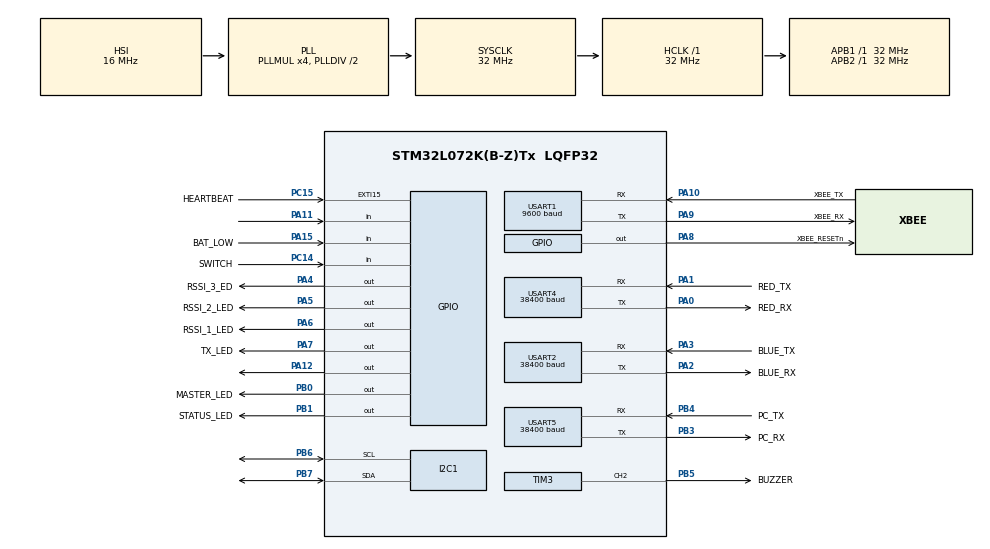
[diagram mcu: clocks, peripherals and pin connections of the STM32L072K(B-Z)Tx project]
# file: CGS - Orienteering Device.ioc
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I2C1.Timing=0x00707CBB
Mcu.Family=STM32L0
Mcu.Name=STM32L072K(B-Z)Tx
Mcu.Package=LQFP32
NVIC.EXTI4_15_IRQn=true\:0\:0\:false\:false\:true\:true\:true
NVIC.USART1_IRQn=true\:3\:0\:true\:false\:true\:true\:true
NVIC.USART2_IRQn=true\:2\:0\:true\:false\:true\:true\:true
NVIC.USART4_5_IRQn=true\:1\:0\:true\:false\:true\:true\:true
PA0.GPIO_Label=RED_RX
PA0.Mode=Asynchronous
PA0.Signal=USART4_TX
PA1.GPIO_Label=RED_TX
PA1.Mode=Asynchronous
PA1.Signal=USART4_RX
PA10.GPIO_Label=XBEE_TX
PA10.Mode=Asynchronous
PA10.Signal=USART1_RX
PA11.Signal=GPIO_Input
PA12.Signal=GPIO_Output
PA13.Mode=Serial_Wire
PA13.Signal=SYS_SWDIO
PA14.Mode=Serial_Wire
PA14.Signal=SYS_SWCLK
PA15.GPIO_Label=BAT_LOW
PA15.Signal=GPIO_Input
PA2.GPIO_Label=BLUE_RX
PA2.Mode=Asynchronous
PA2.Signal=USART2_TX
PA3.GPIO_Label=BLUE_TX
PA3.Mode=Asynchronous
PA3.Signal=USART2_RX
PA4.GPIO_Label=RSSI_3_ED
PA4.Signal=GPIO_Output
PA5.GPIO_Label=RSSI_2_LED
PA5.Signal=GPIO_Output
PA6.GPIO_Label=RSSI_1_LED
PA6.Signal=GPIO_Output
PA7.GPIO_Label=TX_LED
PA7.Signal=GPIO_Output
PA8.GPIO_Label=XBEE_RESETn
PA8.Signal=GPIO_Output
PA9.GPIO_Label=XBEE_RX
PA9.Mode=Asynchronous
PA9.Signal=USART1_TX
PB0.GPIO_Label=MASTER_LED
PB0.Signal=GPIO_Output
PB1.GPIO_Label=STATUS_LED
PB1.Signal=GPIO_Output
PB3.GPIO_Label=PC_RX
PB3.Mode=Asynchronous
PB3.Signal=USART5_TX
PB4.GPIO_Label=PC_TX
PB4.Mode=Asynchronous
PB4.Signal=USART5_RX
PB5.GPIO_Label=BUZZER
PB5.Signal=S_TIM3_CH2
PB6.Mode=I2C
PB6.Signal=I2C1_SCL
PB7.Mode=I2C
PB7.Signal=I2C1_SDA
PC14-OSC32_IN.GPIO_Label=SWITCH
PC14-OSC32_IN.Signal=GPIO_Input
PC15-OSC32_OUT.GPIO_Label=HEARTBEAT
PC15-OSC32_OUT.GPIO_ModeDefaultEXTI=GPIO_MODE_IT_FALLING
PC15-OSC32_OUT.Signal=GPXTI15
ProjectManager.HeapSize=0x200
ProjectManager.StackSize=0x400
ProjectManager.TargetToolchain=STM32CubeIDE
RCC.AHBFreq_Value=32000000
RCC.APB1Freq_Value=32000000
RCC.APB1TimFreq_Value=32000000
RCC.APB2Freq_Value=32000000
RCC.APB2TimFreq_Value=32000000
RCC.HCLKFreq_Value=32000000
RCC.HSI16_VALUE=16000000
RCC.HSI48_VALUE=48000000
RCC.HSI_VALUE=16000000
RCC.LSE_VALUE=32768
RCC.MSI_VALUE=2097000
RCC.PLLMUL=RCC_PLLMUL_4
RCC.SYSCLKFreq_VALUE=32000000
RCC.SYSCLKSource=RCC_SYSCLKSOURCE_PLLCLK
RCC.VCOOutputFreq_Value=64000000
SH.S_TIM3_CH2.0=TIM3_CH2,PWM Generation2 CH2
TIM3.Channel-PWM\ Generation2\ CH2=TIM_CHANNEL_2
TIM3.Period=500-1
TIM3.Prescaler=32-1
TIM3.Pulse-PWM\ Generation2\ CH2=250
USART1.BaudRate=9600
USART1.VirtualMode-Asynchronous=VM_ASYNC
USART2.BaudRate=38400
USART2.VirtualMode-Asynchronous=VM_ASYNC
USART4.BaudRate=38400
USART4.VirtualMode-Asynchronous=VM_ASYNC
USART5.BaudRate=38400
USART5.VirtualMode-Asynchronous=VM_ASYNC
board=custom

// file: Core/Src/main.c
/* USER CODE BEGIN Header */
/**
  ******************************************************************************
  * @file           : main.c
  * @brief          : Main program body
  ******************************************************************************
  * @attention
  *
  * <h2><center>&copy; Copyright (c) 2020 STMicroelectronics.
  * All rights reserved.</center></h2>
  *
  * This software component is licensed by ST under BSD 3-Clause license,
  * the "License"; You may not use this file except in compliance with the
  * License. You may obtain a copy of the License at:
  *                        opensource.org/licenses/BSD-3-Clause
  *
  ******************************************************************************
  */
/* USER CODE END Header */

#include "main.h"
#include "i2c.h"
#include "tim.h"
#include "usart.h"
#include "gpio.h"

/* USER CODE BEGIN Includes */
#include "stdlib.h"
#include "stdio.h"
#include "stdbool.h"
#include "string.h"
/* USER CODE END Includes */

/* USER CODE BEGIN PD */

/* Orienteering Device definitions */
#define SLAVE		0
#define MASTER		1
#define OD_ID		0x43

/* SRR definitions */
#define ETX			0x03
#define NAK			0x15

/* XBee definitions */
#define SOF						0x7E
#define CMD_TX_REQUEST			0x10
#define XBEE_MAX_PACKET_SIZE	60

/* USER CODE END PD */

/* USER CODE BEGIN PV */

/* Tracker variable for which mode we are in */
bool mode;

/* Incoming channel buffers */
volatile uint8_t radioRedBuffer  	[100];
volatile uint8_t radioBlueBuffer 	[100];
volatile uint8_t radioAuxBuffer		[100];

volatile uint8_t PCBuffer  			[100];
volatile uint8_t xbeeBuffer 		[100];

uint8_t xbeeTXBuffer	[XBEE_MAX_PACKET_SIZE];

/* Incoming single byte (we only handle 1 byte at a time) */
uint8_t radioRedIn = 0;
uint8_t radioBlueIn = 0;
uint8_t radioAuxIn = 0;

uint8_t PCIn = 0;
uint8_t xbeeIn = 0;

/* Tracker to keep track of where in the buffer we are */
uint8_t radioRedTracker = 0;
uint8_t radioBlueTracker = 0;
uint8_t radioAuxTracker = 0;

uint8_t PCTracker = 0;
uint8_t xbeeTracker = 0;

/* Boolean flag for when a packet is complete and ready to be interpretted */
bool radioRedPacketComplete = false;
bool radioBluePacketComplete = false;
bool radioAuxPacketComplete = false;

bool PCPacketComplete = false;
bool xbeePacketComplete = false;

/* Timeout counters */
uint32_t xbeeTimeout = 0;

/* Variable for which stage of the packet we are at */
volatile uint8_t xbeeStep = 1;
volatile uint16_t xbeeSize = 0;

/* Outgoing buffer (doesn't matter which channel) */
uint8_t transmitBuffer	[100];

/* Tracker variable for last time LED blinked */
uint32_t timeSinceLastBlink = 0;

/* USER CODE END PV */

void SystemClock_Config(void);
/* USER CODE BEGIN PFP */
static void Boot_Sequence(bool mode);
void XBee_Transmit(uint8_t* txBuffer, uint8_t txBufferSize);
static uint8_t XBee_Checksum(uint8_t *buffer, uint16_t length);
/* USER CODE END PFP */

int main(void)
{

  /* MCU Configuration--------------------------------------------------------*/

  /* Reset of all peripherals, Initializes the Flash interface and the Systick. */
  HAL_Init();

  /* Configure the system clock */
  SystemClock_Config();

  /* Initialize all configured peripherals */
  MX_GPIO_Init();
  MX_I2C1_Init();
  MX_TIM3_Init();
  MX_USART1_UART_Init();
  MX_USART2_UART_Init();
  MX_USART4_UART_Init();
  MX_USART5_UART_Init();
  /* USER CODE BEGIN 2 */

  /* Read the switch to see if we are a master or slave */
  mode = (bool)(HAL_GPIO_ReadPin(GPIOC, SWITCH_Pin));

  /* If we are in slave mode, enable 3 radio inputs, and the XBee channel */
  if (mode == SLAVE)
  {
	  HAL_UART_Receive_IT(&huart4, &radioRedIn, 1);
	  HAL_UART_Receive_IT(&huart2, &radioBlueIn, 1);
	  HAL_UART_Receive_IT(&huart5, &radioAuxIn, 1);
	  HAL_UART_Receive_IT(&huart1, xbeeBuffer, 1);
  }
  /* If we are in master mode, enable PC communications and the XBee channel */
  else if (mode == MASTER)
  {
	  HAL_UART_Receive_IT(&huart5, &PCIn, 1);
	  HAL_UART_Receive_IT(&huart1, xbeeBuffer, 1);
  }

  /* Wake up the XBee */
  HAL_GPIO_WritePin(GPIOA, XBEE_RESETn_Pin, GPIO_PIN_SET);

  /* Boot up the system */
  Boot_Sequence(mode);

  /* USER CODE END 2 */

  /* Infinite loop */
  /* USER CODE BEGIN WHILE */
  while (true)
  {

		/* Handle the slave mode */
		/* Here, 4 things could happen:	 */
		/* - A packet from the red radio comes in. We send this out via the XBee */
		/* - A packet from the blue radio comes in. We send this out via the XBee */
		/* - A packet from the aux radio comes in. We send this out via the XBee */
		/* - A packet from the XBee comes in. We handle this command */
		if (mode == SLAVE)
		{

			if (radioRedPacketComplete == true)
			{

				XBee_Transmit(radioRedBuffer, radioRedTracker);

				memset(radioRedBuffer, 0, 100);
				radioRedTracker = 0;

				radioRedPacketComplete = false;

			}

			if (radioBluePacketComplete == true)
			{

				XBee_Transmit(radioBlueBuffer, radioBlueTracker);

				memset(radioBlueBuffer, 0, 100);
				radioBlueTracker = 0;

				radioBluePacketComplete = false;

			}

			if (radioAuxPacketComplete == true)
			{

				XBee_Transmit(radioAuxBuffer, radioAuxTracker);

				memset(radioAuxBuffer, 0, 100);
				radioAuxTracker = 0;

				radioAuxPacketComplete = false;

			}

		}

		/* Handle the master mode */
		/* Here, 3 things could happen:	 */
		/* - A packet from the Xbee comes in. We handle this data */
		/* - A packet from the PC comes in. We handle this command (TODO) */
		/* - The heartbeat button is pushed. We send out a signal to make the slaves blink (TODO) */
		if (mode == MASTER)
		{

			if (xbeePacketComplete == true)
			{

				/* We need to find where the packet starts. Sometimes this is 14, 15, 16 etc. indexes into the buffer */
				/* There's also a chance both the XBee AND the radio packet are atypical sizes, and with both having their own overhead/structure */
				/* You can see, it's actually proving quite hard to work out where one starts and the other ends because we have embedded radio packets */
				/* We also can't just look for the radio EOF indicator (0x03) since the XBee packet might have this inside of it, too! */
				/* Temporary solution is to look for what seems to be a unique key at the start of the punch radio message: */
				/* - 0xFF (alert, packet incoming) */
				/* - 0x02 (STX, start of text) */
				/* - 0xD3 (transmit punch data) */
				/* This is taken from Page 5 of the SportIdent PC programmers guide */
				/* We can then use the next byte to work out the length. This is similar to the XBee radio structure but is more appropriate to use here */
				/* If this exact key isn't received, then we can discard it and it must be noise or some message we aren't interested in */
				/* This is STILL flawed though! THere's a chance the XBee might have that exact ^ structure embedded in its header */
				uint8_t index;
				uint8_t radioPacketLength;

				for (index = 0; index <= 100; index++)
				{

					/* See if this matches the start of a valid punch data radio packet */
					if (xbeeBuffer[index] == 0xFF && xbeeBuffer[index + 1] == 0x02 && xbeeBuffer[index + 2] == 0xD3)
					{

						/* Grab the length - this is the next byte, but also add back in the overhead (4 bytes) and checksum (3 bytes) */
						/* This means rather than the interesting data, we are transmitting exactly as if the SRR was plugged into the PC */
						/* This can be easily removed later, if we don't want to worry about the checksum and overhead and just want the pure punch data */
						radioPacketLength = xbeeBuffer[index + 3] + 4 + 3;

						memcpy(transmitBuffer, &xbeeBuffer[index], radioPacketLength);
						HAL_UART_Transmit(&huart5, transmitBuffer, 20, 100);
						break;
					}

				}

				/* If the for loop ends normally, then nothing was transmitted and the message was discarded */
				memset(xbeeBuffer, 0, 100);
				xbeePacketComplete = false;

				HAL_UART_Receive_IT(&huart1, xbeeBuffer, 1);

			}

			if (PCPacketComplete == true)
			{

				/* Do something with the PC Packet */

				memset(PCBuffer, 0, 100);
				PCTracker = 0;

				PCPacketComplete = false;

			}

		}

	  	/* In either master or slave mode, blink the status LED */
		if (HAL_GetTick() - timeSinceLastBlink > 500)
		{
			HAL_GPIO_TogglePin(GPIOB, GPIO_PIN_1);
			timeSinceLastBlink = HAL_GetTick();
		}

		/* If it's taken 100ms to get through the process of receiving a whole Xbee packet, it must have failed */
		/* So, we reset the steps */
		if ((HAL_GetTick() - xbeeTimeout) > 100)
		{
			xbeeStep = 1;
			HAL_UART_Receive_IT(&huart1, &xbeeBuffer[1], 1);
		}

    /* USER CODE END WHILE */

  }
}

void SystemClock_Config(void)
{
  RCC_OscInitTypeDef RCC_OscInitStruct = {0};
  RCC_ClkInitTypeDef RCC_ClkInitStruct = {0};
  RCC_PeriphCLKInitTypeDef PeriphClkInit = {0};

  /** Configure the main internal regulator output voltage
  */
  __HAL_PWR_VOLTAGESCALING_CONFIG(PWR_REGULATOR_VOLTAGE_SCALE1);
  /** Initializes the CPU, AHB and APB busses clocks
  */
  RCC_OscInitStruct.OscillatorType = RCC_OSCILLATORTYPE_HSI;
  RCC_OscInitStruct.HSIState = RCC_HSI_ON;
  RCC_OscInitStruct.HSICalibrationValue = RCC_HSICALIBRATION_DEFAULT;
  RCC_OscInitStruct.PLL.PLLState = RCC_PLL_ON;
  RCC_OscInitStruct.PLL.PLLSource = RCC_PLLSOURCE_HSI;
  RCC_OscInitStruct.PLL.PLLMUL = RCC_PLLMUL_4;
  RCC_OscInitStruct.PLL.PLLDIV = RCC_PLLDIV_2;
  if (HAL_RCC_OscConfig(&RCC_OscInitStruct) != HAL_OK)
  {
    Error_Handler();
  }
  /** Initializes the CPU, AHB and APB busses clocks
  */
  RCC_ClkInitStruct.ClockType = RCC_CLOCKTYPE_HCLK|RCC_CLOCKTYPE_SYSCLK
                              |RCC_CLOCKTYPE_PCLK1|RCC_CLOCKTYPE_PCLK2;
  RCC_ClkInitStruct.SYSCLKSource = RCC_SYSCLKSOURCE_PLLCLK;
  RCC_ClkInitStruct.AHBCLKDivider = RCC_SYSCLK_DIV1;
  RCC_ClkInitStruct.APB1CLKDivider = RCC_HCLK_DIV1;
  RCC_ClkInitStruct.APB2CLKDivider = RCC_HCLK_DIV1;

  if (HAL_RCC_ClockConfig(&RCC_ClkInitStruct, FLASH_LATENCY_1) != HAL_OK)
  {
    Error_Handler();
  }
  PeriphClkInit.PeriphClockSelection = RCC_PERIPHCLK_USART1|RCC_PERIPHCLK_USART2
                              |RCC_PERIPHCLK_I2C1;
  PeriphClkInit.Usart1ClockSelection = RCC_USART1CLKSOURCE_PCLK2;
  PeriphClkInit.Usart2ClockSelection = RCC_USART2CLKSOURCE_PCLK1;
  PeriphClkInit.I2c1ClockSelection = RCC_I2C1CLKSOURCE_PCLK1;
  if (HAL_RCCEx_PeriphCLKConfig(&PeriphClkInit) != HAL_OK)
  {
    Error_Handler();
  }
}

/* USER CODE BEGIN 4 */

static void Boot_Sequence(bool mode)
{

	if (mode == SLAVE)
	{

		/* Turn LEDS ON and OFF and make buzzer beep once and longer */
		HAL_TIM_PWM_Start(&htim3, TIM_CHANNEL_2);
		HAL_GPIO_WritePin(GPIOB, GPIO_PIN_1, GPIO_PIN_SET);
		HAL_Delay(200);
		HAL_GPIO_WritePin(GPIOB, GPIO_PIN_1, GPIO_PIN_RESET);
		HAL_GPIO_WritePin(GPIOB, GPIO_PIN_0, GPIO_PIN_SET);
		HAL_Delay(200);
		HAL_TIM_PWM_Stop(&htim3, TIM_CHANNEL_2);
		HAL_GPIO_WritePin(GPIOB, GPIO_PIN_0, GPIO_PIN_RESET);
		HAL_GPIO_WritePin(GPIOA, GPIO_PIN_7, GPIO_PIN_SET);
		HAL_Delay(200);
		HAL_GPIO_WritePin(GPIOA, GPIO_PIN_7, GPIO_PIN_RESET);
		HAL_GPIO_WritePin(GPIOA, GPIO_PIN_6, GPIO_PIN_SET);
		HAL_Delay(200);
		HAL_GPIO_WritePin(GPIOA, GPIO_PIN_6, GPIO_PIN_RESET);
		HAL_GPIO_WritePin(GPIOA, GPIO_PIN_5, GPIO_PIN_SET);
		HAL_Delay(200);
		HAL_GPIO_WritePin(GPIOA, GPIO_PIN_5, GPIO_PIN_RESET);
		HAL_GPIO_WritePin(GPIOA, GPIO_PIN_4, GPIO_PIN_SET);
		HAL_Delay(200);
		HAL_GPIO_WritePin(GPIOA, GPIO_PIN_4, GPIO_PIN_RESET);

	}
	else if (mode == MASTER)
	{

		/* Turn LEDS ON and OFF and make buzzer beep twice */
		HAL_TIM_PWM_Start(&htim3, TIM_CHANNEL_2);
		HAL_GPIO_WritePin(GPIOB, GPIO_PIN_1, GPIO_PIN_SET);
		HAL_Delay(100);
		HAL_TIM_PWM_Stop(&htim3, TIM_CHANNEL_2);
		HAL_Delay(100);
		HAL_GPIO_WritePin(GPIOB, GPIO_PIN_1, GPIO_PIN_RESET);
		HAL_GPIO_WritePin(GPIOB, GPIO_PIN_0, GPIO_PIN_SET);
		HAL_TIM_PWM_Start(&htim3, TIM_CHANNEL_2);
		HAL_Delay(100);
		HAL_TIM_PWM_Stop(&htim3, TIM_CHANNEL_2);
		HAL_Delay(100);
		HAL_GPIO_WritePin(GPIOB, GPIO_PIN_0, GPIO_PIN_RESET);
		HAL_GPIO_WritePin(GPIOA, GPIO_PIN_7, GPIO_PIN_SET);
		HAL_Delay(200);
		HAL_GPIO_WritePin(GPIOA, GPIO_PIN_7, GPIO_PIN_RESET);
		HAL_GPIO_WritePin(GPIOA, GPIO_PIN_6, GPIO_PIN_SET);
		HAL_Delay(200);
		HAL_GPIO_WritePin(GPIOA, GPIO_PIN_6, GPIO_PIN_RESET);
		HAL_GPIO_WritePin(GPIOA, GPIO_PIN_5, GPIO_PIN_SET);
		HAL_Delay(200);
		HAL_GPIO_WritePin(GPIOA, GPIO_PIN_5, GPIO_PIN_RESET);
		HAL_GPIO_WritePin(GPIOA, GPIO_PIN_4, GPIO_PIN_SET);
		HAL_Delay(200);
		HAL_GPIO_WritePin(GPIOA, GPIO_PIN_4, GPIO_PIN_RESET);

		/* Lastly, turn the MASTER LED on, and don't change it */
		HAL_GPIO_WritePin(GPIOB, GPIO_PIN_0, GPIO_PIN_SET);

	}
}

void XBee_Transmit(uint8_t* txBuffer, uint8_t txBufferSize)
{

	uint16_t packetLength;
	uint8_t checksum;

	/* Let's build the packet */
	/* First, it's the Start of File indicator byte */
	xbeeTXBuffer[0] = SOF;

	/* Second, the Packet Length. This equals Payload Length + 14 Bytes (CMD-ID(1B) + frame id(1B) +  64-bit addr + 16 bit-addr + 2B) */
	packetLength = txBufferSize + 14;

	xbeeTXBuffer[1] = (uint8_t) (packetLength >> 8);
	xbeeTXBuffer[2] = (uint8_t) (packetLength);

	/* Command ID */
	xbeeTXBuffer[3] = CMD_TX_REQUEST;

	/* Frame ID */
	xbeeTXBuffer[4] = 0x00;

	/* 64-Bit Destination Address. In broadcast mode, this is 0x000000000000FFFF */
	xbeeTXBuffer[5] = 0x00;
	xbeeTXBuffer[6] = 0x00;
	xbeeTXBuffer[7] = 0x00;
	xbeeTXBuffer[8] = 0x00;
	xbeeTXBuffer[9] = 0x00;
	xbeeTXBuffer[10] = 0x00;
	xbeeTXBuffer[11] = 0xFF;
	xbeeTXBuffer[12] = 0xFF;

	/* 16-Bit Address. In broadcast mode, this is 0xFFFE */
	xbeeTXBuffer[13] = 0xFF;
	xbeeTXBuffer[14] = 0xFE;

	/* Broadcast Radius. We'll set this to 1 */
	xbeeTXBuffer[15] = 0x01;

	/* Transmit Options. We won't use any here */
	xbeeTXBuffer[16] = 0x00;

	/* Paste the payload in */
	memcpy(&xbeeTXBuffer[17], txBuffer, txBufferSize);

	/* Calculate the checksum */
	checksum = XBee_Checksum(&xbeeTXBuffer[3], packetLength);

	/* Insert the checksum */
	xbeeTXBuffer[17 + txBufferSize] = checksum;

	/* Transmit the packet to the XBee */
	HAL_UART_Transmit(&huart1, xbeeTXBuffer, packetLength + 4, 100);

}

static uint8_t XBee_Checksum(uint8_t *buffer, uint16_t length)
{
	uint16_t add = 0;
	uint16_t i;
	uint8_t checksum;

	for (i = 0; i < length; ++i)
	{
		add += buffer[i];
	}

	// Keep only the lowest 8 bits of the result
	add = add & 0x00FF;

	checksum = 0xFF - (uint8_t)add;

	return checksum;
}

void HAL_UART_RxCpltCallback(UART_HandleTypeDef *huart)
{

	/* Handle XBee input - this happens independent of slave or master mode */

	/* Unlike PC where we just look for newline ('\n'), or the radios where we look for NAK/ETX byte, this isn't trivial */
	/* First, we look for the SOF (start of file) byte. When we get this, we know the next 2 bytes will be the length */
	/* Second, we read the length which is 2 bytes. Then, we use this information to wait for the final amount of data incoming */
	/* Third and final, we read the rest of the data */
	if (huart->Instance == USART1)
	{

		xbeeTimeout = HAL_GetTick();

		if (xbeeStep == 1)
		{

			/* This is a valid XBee packet */
			/* Proceed to the next step, shift the buffer pointer up 1, and wait for 2 bytes */
			/* These 2 bytes will be the length */
			if (xbeeBuffer[0] == SOF)
			{

				xbeeStep = 2;
				xbeeSize = 2;
				HAL_UART_Receive_IT(&huart1, &xbeeBuffer[1], xbeeSize);

			}
			/* Otherwise, this is an invalid packet/we got out of sync */
			/* Restart and continue the hunt for a valid packet */
			else
			{
				xbeeStep = 1;
				HAL_UART_Receive_IT(&huart1, xbeeBuffer, 1);
			}

		}
		else if (xbeeStep == 2)
		{

			/* Here, we calculate the length of the packet incoming */
			/* This is then used for the final step where we grab the data we want */
			xbeeSize = (xbeeBuffer[1] << 8) | (xbeeBuffer[2] << 0);

			/* The real size is an additional 1 bytes on top of this for the checksum */
			xbeeSize += 1;

			/* We add a check here to make sure the length is sensible */
			/* If it is sensible, we move up the buffer a few positions and look for the remaining packet size */
			if (xbeeSize <= XBEE_MAX_PACKET_SIZE)
			{
				xbeeStep = 3;
				HAL_UART_Receive_IT(&huart1, &xbeeBuffer[3], xbeeSize);
			}
			/* Otherwise, this is an invalid packet/we got out of sync */
			/* Restart and continue the hunt for a valid packet */
			else
			{
				xbeeStep = 1;
				HAL_UART_Receive_IT(&huart1, xbeeBuffer, 1);
			}
		}
		else if (xbeeStep == 3)
		{

			/* Here, we have received the packet of data */
			/* There are several checks we need to make here */
			/* First, check that it's a valid Orienteering Device packet */
//			if (xbeeBuffer[0] == OD_ID
//			 && xbeeBuffer[1] == currentChannel)
//			{

				xbeePacketComplete = true;

//			}
			/* Whether it was a valid packet or not, we begin scanning again for new data */
			xbeeStep = 1;
			HAL_UART_Receive_IT(&huart1, xbeeBuffer, 1);

		}

	}

	/* Manage data coming in from the radios */
	if (mode == SLAVE)
	{

		/* Handle Red Radio input */
		if (huart->Instance == USART4)
		{
			radioRedBuffer[radioRedTracker] = radioRedIn;
			radioRedTracker++;

			if (radioRedIn == NAK || radioRedIn == ETX)
			{
				radioRedPacketComplete = true;
			}

			HAL_UART_Receive_IT(&huart4, &radioRedIn, 1);

		}

		/* Handle Blue Radio input */
		if (huart->Instance == USART2)
		{
			radioBlueBuffer[radioBlueTracker] = radioBlueIn;
			radioBlueTracker++;

			if (radioBlueIn == NAK || radioBlueIn == ETX)
			{
				radioBluePacketComplete = true;
			}

			HAL_UART_Receive_IT(&huart2, &radioBlueIn, 1);

		}

		/* Handle Auxiliary Radio input */
		if (huart->Instance == USART5)
		{
			radioAuxBuffer[radioAuxTracker] = radioAuxIn;
			radioAuxTracker++;

			if (radioAuxIn == NAK || radioAuxIn == ETX)
			{
				radioAuxPacketComplete = true;
			}

			HAL_UART_Receive_IT(&huart5, &radioAuxIn, 1);

		}

	}

	/* Manage data coming from the PC */
	else if (mode == MASTER)
	{

		/* Handle PC input */
		if (huart->Instance == USART5)
		{
			PCBuffer[PCTracker] = PCIn;
			PCTracker++;

			if (PCIn == '\n')
			{
				PCPacketComplete = true;
			}

			HAL_UART_Receive_IT(&huart5, &PCIn, 1);

		}

	}

}
/* USER CODE END 4 */

void Error_Handler(void)
{
}

/************************ (C) COPYRIGHT STMicroelectronics *****END OF FILE****/
